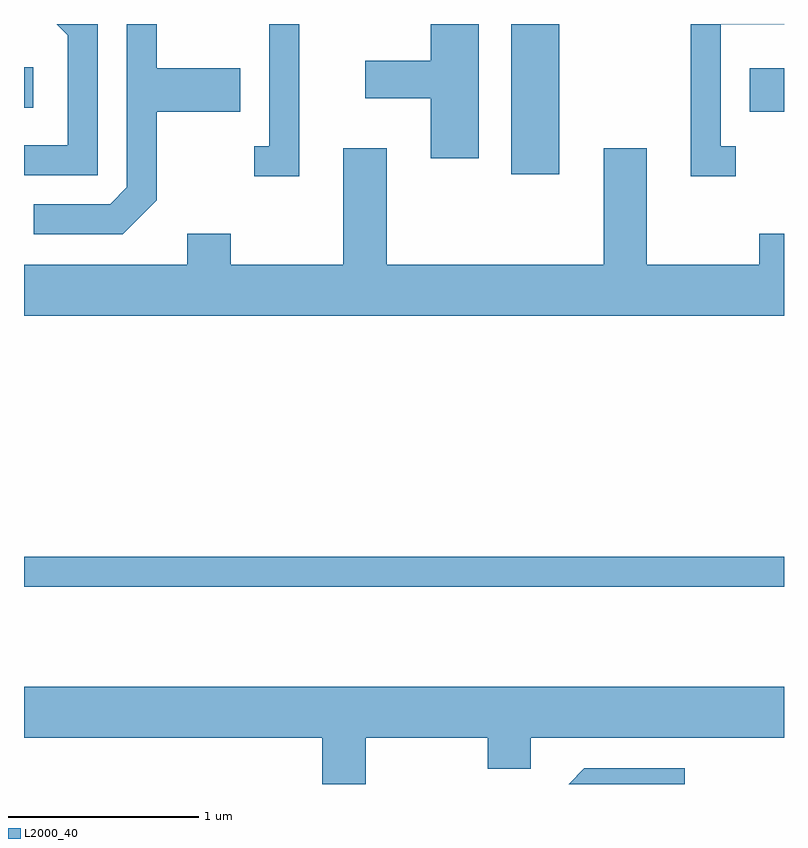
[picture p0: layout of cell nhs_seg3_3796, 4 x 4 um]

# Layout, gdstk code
import gdstk
lib = gdstk.Library(unit=1e-6, precision=1e-09)
def R(c, l, rs):  # rectangles x0, y0, x1, y1
    for r in rs: c.add(gdstk.rectangle(r[:2], r[2:], *l))
def P(c, l, *ps):  # polygons
    for p in ps: c.add(gdstk.Polygon(p, *l))
L2000_40 = (2000, 40)

nhs_seg3_3796 = lib.new_cell('nhs_seg3_3796')
R(nhs_seg3_3796, L2000_40, [(295.611,1228.931,299.611,1229.089), (298.176,1231.101,298.429,1231.892), (299.431,1231.431,299.611,1231.659), (295.611,1231.451,295.659,1231.664)])
P(nhs_seg3_3796, L2000_40, [(297.059,1231.892),(296.461,1231.892),(296.461,1231.891),(296.901,1231.891),(296.901,1231.249),(296.823,1231.249),(296.823,1231.091),(297.059,1231.091)],
  [(296.309,1230.964),(296.309,1231.431),(296.749,1231.431),(296.749,1231.659),(296.309,1231.659),(296.309,1231.892),(296.151,1231.892),(296.151,1231.032),(296.064,1230.944),(295.663,1230.944),(295.663,1230.786),(296.132,1230.786)],
  [(295.999,1231.892),(295.783,1231.892),(295.841,1231.834),(295.841,1231.254),(295.611,1231.254),(295.611,1231.096),(295.999,1231.096)],
  [(298.004,1231.892),(297.751,1231.892),(297.751,1231.699),(297.406,1231.699),(297.406,1231.501),(297.751,1231.501),(297.751,1231.186),(298.004,1231.186)],
  [(299.358,1231.249),(299.279,1231.249),(299.279,1231.891),(299.611,1231.891),(299.611,1231.892),(299.121,1231.892),(299.121,1231.091),(299.358,1231.091)],
  [(299.611,1230.789),(299.481,1230.789),(299.481,1230.624),(298.889,1230.624),(298.889,1231.239),(298.661,1231.239),(298.661,1230.624),(297.519,1230.624),(297.519,1231.239),(297.291,1231.239),(297.291,1230.624),(296.699,1230.624),(296.699,1230.789),(296.471,1230.789),(296.471,1230.624),(295.611,1230.624),(295.611,1230.356),(299.611,1230.356)],
  [(297.409,1228.136),(298.051,1228.136),(298.051,1227.971),(298.279,1227.971),(298.279,1228.136),(299.611,1228.136),(299.611,1228.404),(295.611,1228.404),(295.611,1228.136),(297.181,1228.136),(297.181,1227.892),(297.409,1227.892)],
  [(299.088,1227.974),(298.559,1227.974),(298.477,1227.892),(299.088,1227.892)])

lib.write_gds('nhs_seg3_3796.gds')
